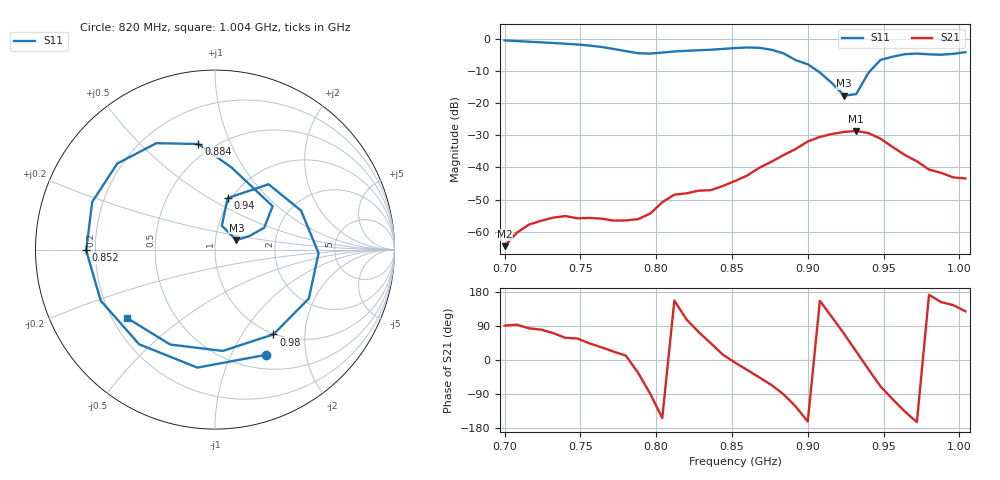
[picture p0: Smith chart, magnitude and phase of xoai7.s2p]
# Hz S RI R 50
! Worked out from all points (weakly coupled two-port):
!   39 points, 700 MHz to 1.004 GHz, reference 50 ohm
!   highest |S21| = -28.63 dB at 932 MHz (marker M1); lowest = -64.5 dB at 700 MHz (marker M2)
!   lowest |S11| = -17.7 dB at 924 MHz (marker M3), VSWR 1.30, Z = 63.2 + j6.83 ohm
!   |S11| at or under -10 dB: 906.6 MHz to 941.1 MHz (34.6 MHz wide, 3.74 % of centre)
!   S12 and S22 are empty: the file has one direction only
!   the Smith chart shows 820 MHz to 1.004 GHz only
!   S11 on the Smith chart (normalised r, x): 820 MHz: 0.67, -1.37; 852 MHz: 0.16, -0.00; 884 MHz: 0.42, +0.76; 940 MHz: 0.96, +0.61; 980 MHz: 0.99, -1.39; 1.004 GHz: 0.26, -0.32
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7e8  0.7619 0.5561  -8.7e-06 0.000598  0 0  0 0
7.24e8  0.8461 -0.2491  0.000254 0.00146  0 0  0 0
7.4e8  0.4609 -0.7026  0.000914 0.0015  0 0  0 0
7.56e8  -0.1923 -0.7613  0.00118 0.00114  0 0  0 0
7.72e8  -0.666 -0.2015  0.00138 0.000559  0 0  0 0
7.8e8  -0.6033 0.2249  0.00147 0.000299  0 0  0 0
7.88e8  -0.2535 0.54  0.00131 -0.000866  0 0  0 0
7.96e8  0.2414 0.5389  4.54e-05 -0.00191  0 0  0 0
8.04e8  0.5816 0.1854  -0.00257 -0.0013  0 0  0 0
8.2e8  0.2836 -0.5865  -0.00116 0.00378  0 0  0 0
8.36e8  -0.4227 -0.5274  0.00318 0.0031  0 0  0 0
8.52e8  -0.7178 -0.00393  0.00614 -0.000722  0 0  0 0
8.68e8  -0.5444 0.4796  0.00688 -0.00711  0 0  0 0
8.84e8  -0.0927 0.5883  -9.21e-05 -0.0156  0 0  0 0
9e8  0.3212 0.242  -0.0242 -0.00767  0 0  0 0
9.08e8  0.2741 0.1215  -0.0273 0.0121  0 0  0 0
9.24e8  0.1198 0.0531  0.0128 0.0333  0 0  0 0
9.32e8  0.0379 0.1329  0.0342 0.0142  0 0  0 0
9.4e8  0.0707 0.2873  0.0312 -0.0141  0 0  0 0
9.56e8  0.4797 0.217  -0.00487 -0.0202  0 0  0 0
9.8e8  0.3253 -0.4725  -0.00919 0.00127  0 0  0 0
1.004e9  -0.4887 -0.3817  -0.00421 0.00528  0 0  0 0
